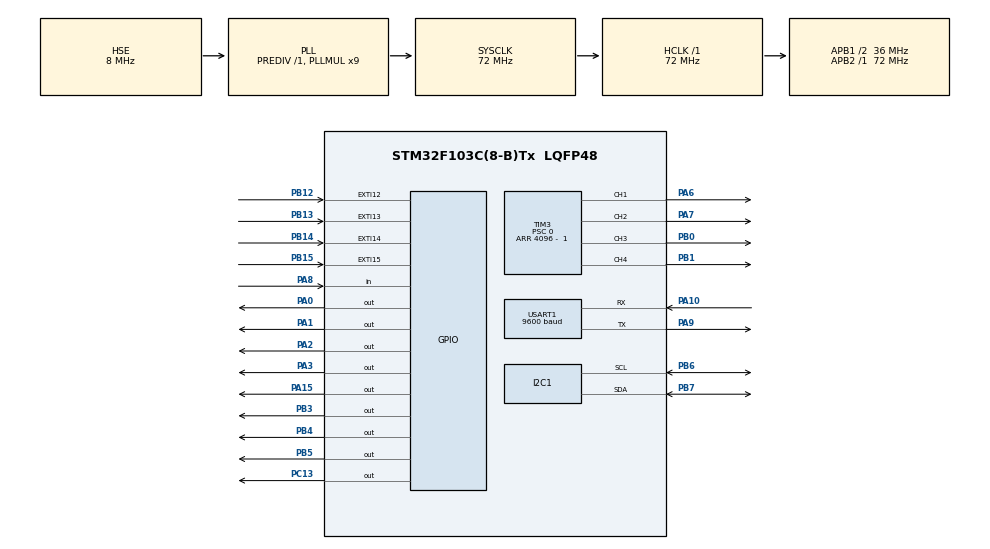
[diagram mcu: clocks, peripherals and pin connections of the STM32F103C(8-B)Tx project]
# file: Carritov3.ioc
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Mcu.Family=STM32F1
Mcu.Name=STM32F103C(8-B)Tx
Mcu.Package=LQFP48
NVIC.EXTI15_10_IRQn=true\:0\:0\:true\:true\:true\:1\:true\:true\:true
NVIC.PriorityGroup=NVIC_PRIORITYGROUP_4
NVIC.TIM2_IRQn=true\:0\:0\:false\:true\:true\:3\:true\:true\:true
NVIC.TIM3_IRQn=true\:0\:0\:false\:true\:true\:4\:true\:true\:true
NVIC.TIM4_IRQn=true\:0\:0\:false\:true\:true\:2\:true\:true\:true
PA0-WKUP.Signal=GPIO_Output
PA1.Signal=GPIO_Output
PA10.Mode=Asynchronous
PA10.Signal=USART1_RX
PA13.Mode=Serial_Wire
PA13.Signal=SYS_JTMS-SWDIO
PA14.Mode=Serial_Wire
PA14.Signal=SYS_JTCK-SWCLK
PA15.Signal=GPIO_Output
PA2.Signal=GPIO_Output
PA3.Signal=GPIO_Output
PA6.Signal=S_TIM3_CH1
PA7.Signal=S_TIM3_CH2
PA8.GPIO_PuPd=GPIO_PULLDOWN
PA8.Signal=GPIO_Input
PA9.Mode=Asynchronous
PA9.Signal=USART1_TX
PB0.Signal=S_TIM3_CH3
PB1.Signal=S_TIM3_CH4
PB12.GPIO_ModeDefaultEXTI=GPIO_MODE_IT_RISING
PB12.GPIO_PuPd=GPIO_PULLDOWN
PB12.Signal=GPXTI12
PB13.GPIO_ModeDefaultEXTI=GPIO_MODE_IT_RISING
PB13.GPIO_PuPd=GPIO_PULLDOWN
PB13.Signal=GPXTI13
PB14.GPIO_ModeDefaultEXTI=GPIO_MODE_IT_RISING
PB14.GPIO_PuPd=GPIO_PULLDOWN
PB14.Signal=GPXTI14
PB15.GPIO_ModeDefaultEXTI=GPIO_MODE_IT_RISING
PB15.GPIO_PuPd=GPIO_PULLDOWN
PB15.Signal=GPXTI15
PB3.Signal=GPIO_Output
PB4.Signal=GPIO_Output
PB5.Signal=GPIO_Output
PB6.Mode=I2C
PB6.Signal=I2C1_SCL
PB7.Mode=I2C
PB7.Signal=I2C1_SDA
PC13-TAMPER-RTC.Signal=GPIO_Output
PC14-OSC32_IN.Mode=LSE-External-Oscillator
PC14-OSC32_IN.Signal=RCC_OSC32_IN
PC15-OSC32_OUT.Mode=LSE-External-Oscillator
PC15-OSC32_OUT.Signal=RCC_OSC32_OUT
PD0-OSC_IN.Mode=HSE-External-Oscillator
PD0-OSC_IN.Signal=RCC_OSC_IN
PD1-OSC_OUT.Mode=HSE-External-Oscillator
PD1-OSC_OUT.Signal=RCC_OSC_OUT
ProjectManager.HeapSize=0x200
ProjectManager.StackSize=0x400
ProjectManager.TargetToolchain=STM32CubeIDE
RCC.AHBFreq_Value=72000000
RCC.APB1CLKDivider=RCC_HCLK_DIV2
RCC.APB1Freq_Value=36000000
RCC.APB1TimFreq_Value=72000000
RCC.APB2Freq_Value=72000000
RCC.APB2TimFreq_Value=72000000
RCC.HCLKFreq_Value=72000000
RCC.PLLMUL=RCC_PLL_MUL9
RCC.PLLSourceVirtual=RCC_PLLSOURCE_HSE
RCC.SYSCLKFreq_VALUE=72000000
RCC.SYSCLKSource=RCC_SYSCLKSOURCE_PLLCLK
RCC.USBFreq_Value=72000000
SH.S_TIM3_CH1.0=TIM3_CH1,PWM Generation1 CH1
SH.S_TIM3_CH2.0=TIM3_CH2,PWM Generation2 CH2
SH.S_TIM3_CH3.0=TIM3_CH3,PWM Generation3 CH3
SH.S_TIM3_CH4.0=TIM3_CH4,PWM Generation4 CH4
TIM2.Period=2500 - 1
TIM2.Prescaler=7200 - 1
TIM3.Channel-PWM\ Generation1\ CH1=TIM_CHANNEL_1
TIM3.Channel-PWM\ Generation2\ CH2=TIM_CHANNEL_2
TIM3.Channel-PWM\ Generation3\ CH3=TIM_CHANNEL_3
TIM3.Channel-PWM\ Generation4\ CH4=TIM_CHANNEL_4
TIM3.Period=4096 -  1
TIM3.Prescaler=0
TIM4.Period=100-1
TIM4.Prescaler=7200 - 1
USART1.BaudRate=9600
USART1.VirtualMode=VM_ASYNC
VP_TIM1_VS_ClockSourceINT.Mode=Internal
VP_TIM2_VS_ClockSourceINT.Mode=Internal
VP_TIM3_VS_ClockSourceINT.Mode=Internal
VP_TIM4_VS_ClockSourceINT.Mode=Internal
board=custom

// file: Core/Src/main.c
/* USER CODE BEGIN Header */
/**
  ******************************************************************************
  * @file           : main.c
  * @brief          : Main program body
  ******************************************************************************
  * @attention
  *
  * Copyright (c) 2023 STMicroelectronics.
  * All rights reserved.
  *
  * This software is licensed under terms that can be found in the LICENSE file
  * in the root directory of this software component.
  * If no LICENSE file comes with this software, it is provided AS-IS.
  *
  ******************************************************************************
  */
/* USER CODE END Header */
#include "main.h"

/* USER CODE BEGIN Includes */
#include "stdio.h"
#include "Directions.h"
#include "PIDpwm.h"
#include "math.h"
/* USER CODE END Includes */

I2C_HandleTypeDef hi2c1;

TIM_HandleTypeDef htim1;
TIM_HandleTypeDef htim2;
TIM_HandleTypeDef htim3;
TIM_HandleTypeDef htim4;

UART_HandleTypeDef huart1;

/* USER CODE BEGIN PV */

/* IMU Adresses */
uint8_t IMU_ADDRESS = 0b11010000; //0xD0
uint8_t MAG_ADDRESS = 0x1A;

/* Variables de IMU6050 Acelerometro */
uint8_t accel_raw_data[6];

float accel_x;
float accel_y;
float accel_z;

/* Variables de IMU6050 Giroscopio */

uint8_t gyro_raw_data[6];

float gyro_x;
float gyro_y;
float gyro_z;

float GyroMean[5] = {};
float gyro_mean;

float GyroValuesx = 0;
float GyroValuesy = 0;
float GyroValuesz = 0;

float Gyro_X_calibration = 0;
float Gyro_Y_calibration = 0;
float Gyro_Z_calibration = 0;

/*Angulos*/
float yawangle = 0;
float yawangle_new;
float prev_yaw = 0;
float yaw_reference = -90;
float filteredYaw;
float YawOffsetValue;
uint8_t state = 0;
float pidanlge_to_use;

volatile uint8_t pulses_rf, pulses_lf, pulses_rb, pulses_lb;

float pulsesperturn = 20.0;

float rpm_rf, rpm_lf, rpm_rb, rpm_lb;

float current_tick_rf, current_tick_lf, current_tick_rb, current_tick_lb;

float pid_output_lf, pid_output_rf, pid_output_lb, pid_output_rb;
float Pid_angle_pwm_left, Pid_angle_pwm_right;

float pwm_rf,pwm_lf, pwm_rb, pwm_lb;

float distance_rf,distance_lf,distance_rb,distance_lb, distance_average;

PIDpwm_Controller pidMotor_rf,pidMotor_lf,pidMotor_rb,pidMotor_lb, pidAngle;

float samplingTime = 250.0;

float setpoint = 3.4;

/*Array For Commands*/
char Commands[3];

/*Transmission array*/
char rpmdata[200] = {0};

/* Magnetometer variables*/
uint8_t array[2]={0x01, 0x1D};
uint8_t array2[6];
int16_t MagX,MagY,MagZ;
float YawMag, angulo2;
float x_center =  2624.1;/* Valor de x_center de MATLAB */;
float y_center = 2561.8/* Valor de y_center de MATLAB */;
float z_center = 210.8500/* Valor de z_center de MATLAB */;
float radio_promedio = 153.39167/* Valor del radio promedio calculado en MATLAB */;
float x_norm, y_norm, z_norm;
float distancia;

// Variables para almacenar los máximos y mínimos de la calibración
char datos[20];

uint8_t count = 0;
uint32_t time_counter = 1;
uint8_t flag;

/* USER CODE END PV */

void SystemClock_Config(void);
static void MX_GPIO_Init(void);
static void MX_I2C1_Init(void);
static void MX_TIM3_Init(void);
static void MX_USART1_UART_Init(void);
static void MX_TIM4_Init(void);
static void MX_TIM2_Init(void);
static void MX_TIM1_Init(void);
static void MX_NVIC_Init(void);

/* USER CODE BEGIN 0 */
void MPU_init(void){
	/*IMU 60050 configuration*/
	uint8_t check, data;

	/*WHO_AM_I register, returns 0x58 if connected*/
	HAL_I2C_Mem_Read(&hi2c1, IMU_ADDRESS, 0x75, 1, &check, 1, 100);

	if(check == 104){
		/*PWR_MGMT_1 register. Write 0 for normal use*/
		data = 0;
		HAL_I2C_Mem_Write(&hi2c1, IMU_ADDRESS, 0x6B, 1, &data, 1, 100);

		/*SMPRT_DIV register*/
		data = 0x07;
		HAL_I2C_Mem_Write(&hi2c1, IMU_ADDRESS, 0x19, 1, &data, 1, 100);

		/*Acceleration Register configuration*/
		HAL_I2C_Mem_Read(&hi2c1, IMU_ADDRESS, 0x1C, 1, &data, 1, 100);

		uint8_t precission_selector = 0;
		/*
		 * 0 for +- 2g
		 * 1 for +- 4g
		 * 2 for +- 8g
		 * 3 for +- 16g
		 */
		data = (data & ~(0b11<<3));
		data = (data | (precission_selector << 3));

		HAL_I2C_Mem_Write(&hi2c1, IMU_ADDRESS, 0x1C, 1, &data, 1, 100);

		/*Gyro Register configuration*/
		HAL_I2C_Mem_Read(&hi2c1, IMU_ADDRESS, 0x1B, 1, &data, 1, 100);

		uint8_t precission_selector_gyro = 0;
		/*
		 * 0 for +- 250 deg/s
		 * 1 for +- 500 deg/s
		 * 2 for +- 1000 deg/s
		 * 3 for +- 2000 deg/s
		 */
		data = (data & ~(0b11<<3));
		data = (data | (precission_selector_gyro << 3));

		HAL_I2C_Mem_Write(&hi2c1, IMU_ADDRESS, 0x1B, 1,&data, 1, 100);

	}

}

void MPU_Read_accel(void){

	/*
	 * 0x3B ACCEL_XOUT_H
	 * 0x3C ACCEL_XOUT_L
	 * 0x3D ACCEL_YOUT_H
	 * 0x3E ACCEL_YOUT_L
	 * 0x3F ACCEL_ZOUT_H
	 * 0x40 ACCEL_ZOUT_L
	 * */

	/*Read registers in order*/
	HAL_I2C_Mem_Read(&hi2c1, IMU_ADDRESS, 0x3B, 1, accel_raw_data, 6, 1000);

	/*Precission value in g's
	 * change if value in MPU_init changes
	 * 2
	 * 4
	 * 8
	 * 16
	 * */
	 float g_precission = 2;

	 accel_x = (float)(((int16_t)(accel_raw_data[0] << 8 | accel_raw_data[1])) * g_precission/32768);
	 accel_y = (float)(((int16_t)(accel_raw_data[2] << 8 | accel_raw_data[3])) * g_precission/32768);
	 accel_z = (float)(((int16_t)(accel_raw_data[4] << 8 | accel_raw_data[5])) * g_precission/32768);

	 /*Conversion from g's to m/s^2*/
	 accel_x = accel_x * 9.81;
	 accel_y = accel_y * 9.81;
	 accel_z = accel_z * 9.81;
	}

void MPU_Read_gyro(void){

	/*
	 * 0x43 ACCEL_XOUT_H
	 * 0x44 ACCEL_XOUT_L
	 * 0x45 ACCEL_YOUT_H
	 * 0x46 ACCEL_YOUT_L
	 * 0x47 ACCEL_ZOUT_H
	 * 0x48 ACCEL_ZOUT_L
	 * */

	if(count < 5){

		/*Read registers in order*/
		HAL_I2C_Mem_Read(&hi2c1, IMU_ADDRESS, 0x43, 1, gyro_raw_data, 6, 1000);

		/*Precission value in degs/s
		 * change if value in MPU_init changes
		 * 250
		 * 500
		 * 1000
		 * 2000
		 * */
		float gyro_Precission = 250;

		 gyro_x = (float)(((int16_t)(gyro_raw_data[0] << 8 | gyro_raw_data[1])) * gyro_Precission/32768);
		 gyro_y = (float)(((int16_t)(gyro_raw_data[2] << 8 | gyro_raw_data[3])) * gyro_Precission/32768);
		 gyro_z = (float)(((int16_t)(gyro_raw_data[4] << 8 | gyro_raw_data[5])) * gyro_Precission/32768);

		 /*Gyro values adjusted with calibration values*/
		 gyro_x += Gyro_X_calibration;
		 gyro_y += Gyro_Y_calibration;
		 gyro_z += Gyro_Z_calibration;

		 GyroMean[count] = gyro_z;
		 count++;
	}

	if(count == 5){
		/*Moving average of 5*/
		gyro_mean = (GyroMean[0]+GyroMean[1]+GyroMean[2]+GyroMean[3]+GyroMean[4])/5;
		count = 0;
	}
}

void Gyro_calibration(void){

	uint16_t counter = 0;
	uint32_t StartTime_cal = HAL_GetTick();
	uint32_t ElapsedTime_cal = 0;

	/*Calibrate value for 9 seconds*/
	while(ElapsedTime_cal < 9000){

		MPU_Read_gyro();
		GyroValuesx += gyro_x;
		GyroValuesy += gyro_y;
		GyroValuesz += gyro_z;

		counter++;

		uint32_t CurrentTime_cal = HAL_GetTick();
		ElapsedTime_cal = CurrentTime_cal - StartTime_cal;
	}

	/*Calibration values, average of gyros values*/
	Gyro_X_calibration = -1 * GyroValuesx/counter;
	Gyro_Y_calibration = -1 * GyroValuesy/counter;
	Gyro_Z_calibration = -1 * GyroValuesz/counter;

}

void MPU_GetYaw(uint8_t elapsed){
	uint8_t alfa = 0.98;

	yawangle_new = prev_yaw + gyro_z * elapsed/1000;

	yawangle = (1-alfa) * prev_yaw + (alfa) * yawangle_new;

	prev_yaw = yawangle_new;

	if(yawangle <= -360){
		yawangle = 0;
	}
	if(yawangle > 360){
		yawangle = 0;
	}

	//filteredYaw = alfa*(filteredYaw + gyro_z * elapsed/1000) + (1-alfa)*YawMag;
}

void Mag_init(void){

	 HAL_I2C_Mem_Write(&hi2c1, MAG_ADDRESS, 0x08,1, &array[0], 1, 100);
	 HAL_I2C_Mem_Write(&hi2c1, MAG_ADDRESS, 0x09,1, &array[1], 1, 100);
}

void Mag_read(void){
	HAL_I2C_Mem_Read(&hi2c1, MAG_ADDRESS, 0x06,1, array2, 1, 100);
	  if(array2[0]&0x01){
		  HAL_I2C_Mem_Read(&hi2c1, MAG_ADDRESS, 0x00,1, array2, 6, 100);
		  MagX = array2[1] << 8 | array2[0];
		  MagY = array2[3] << 8 | array2[2];
		  MagY = array2[5] << 8 | array2[4];
	  }
	  float x_cent = (float)MagX - x_center;
	  float y_cent = (float)MagY - y_center;
	  float z_cent = (float)MagZ - z_center;

	  distancia = sqrt(x_cent * x_cent + y_cent * y_cent + z_cent * z_cent);
	  if (distancia != 0) { // Evitar división por cero
		  x_norm = (x_cent / distancia); //* radio_promedio;
		  y_norm = (y_cent / distancia); //* radio_promedio;
		  z_norm = (z_cent / distancia); //* radio_promedio;
	  }
	  distancia = sqrt(x_norm * x_norm + y_norm * y_norm + z_norm * z_norm);
	  YawMag = atan2(y_norm,x_norm)*180/M_PI;
}
/* USER CODE END 0 */

int main(void)
{

  /* MCU Configuration--------------------------------------------------------*/

  /* Reset of all peripherals, Initializes the Flash interface and the Systick. */
  HAL_Init();

  /* Configure the system clock */
  SystemClock_Config();

  /* Initialize all configured peripherals */
  MX_GPIO_Init();
  MX_I2C1_Init();
  MX_TIM3_Init();
  MX_USART1_UART_Init();
  MX_TIM4_Init();
  MX_TIM2_Init();
  MX_TIM1_Init();

  /* Initialize interrupts */
  MX_NVIC_Init();
  /* USER CODE BEGIN 2 */

  /*Check if MPU6050 is connected*/
  HAL_StatusTypeDef ret = HAL_I2C_IsDeviceReady(&hi2c1, IMU_ADDRESS, 10, 100);
  /*Check if QMC5883 is connected*/
  HAL_StatusTypeDef ready = HAL_I2C_IsDeviceReady(&hi2c1, MAG_ADDRESS, 10, 1000);

  if(ret == HAL_OK /*&& ready == HAL_OK*/){
	  HAL_GPIO_WritePin(GPIOC, GPIO_PIN_13, 0);
	  char transmission_buffer[17];
	  uint8_t transmission_size = sprintf(transmission_buffer,"Device connected \n");

	  HAL_UART_Transmit(&huart1,&transmission_buffer,transmission_size, 500);
  }
  else{
	  HAL_GPIO_WritePin(GPIOC, GPIO_PIN_13, 1);
  }

  Mag_init();
  MPU_init();

  Gyro_calibration();

  HAL_TIM_Base_Start_IT(&htim4);
  HAL_TIM_Base_Start_IT(&htim2);
  HAL_TIM_PWM_Start(&htim3, TIM_CHANNEL_1);
  HAL_TIM_PWM_Start(&htim3, TIM_CHANNEL_2);
  HAL_TIM_PWM_Start(&htim3, TIM_CHANNEL_3);
  HAL_TIM_PWM_Start(&htim3, TIM_CHANNEL_4);

  uint32_t start_time, elapsed_time, current_time;

/*Initialize PID functions with its obtained Kp, Ti, Td and reference values*/
  /*
   PIDpwm_Init(&pidMotor_lf,0.6241f,10.0f,0.025f,-270.0f, 270.0f);
   PIDpwm_Init(&pidMotor_rf,2.915f,10.00f,0.025f,-270.0f, 270.0f);
   PIDpwm_Init(&pidMotor_lb,1.369f,0.2538f,1.846f,-270.0f, 270.0f);
   PIDpwm_Init(&pidMotor_rb,0.0f,0.1283f,0.0f,-270.0f,270.0f);
  /*
/*
  PIDpwm_Init(&pidMotor_rf, 1.7513f, 285.5875f, 0.14992f, -300.0f, 300.0f);
  PIDpwm_Init(&pidMotor_lf, 1.9756f, 361.081f, 0.15439f, -300.0f, 300.0f);
  PIDpwm_Init(&pidMotor_rb, 2.4901f, 324.3345, 0.16109f, -300.0f, 300.0f);
  PIDpwm_Init(&pidMotor_lb, 2.131f, 380.4173f, 0.14994f, -300.0f, 300.0f);
*/

  pidMotor_rf.setpoint = 3.4;
  pidMotor_lf.setpoint = setpoint;
  pidMotor_rb.setpoint = setpoint;
  pidMotor_lb.setpoint = setpoint;

  pidAngle.setpoint = 0;

/*
  PIDpwm_Init(&pidMotor_rf, 0.90f, 0.0f, 0.0f, -300.0f, 300.0f);
  PIDpwm_Init(&pidMotor_lf, 1.0f, 0.0f, 0.0f, -300.0f, 300.0f);
  PIDpwm_Init(&pidMotor_rb, 0.8f, 0.0f, 0.0f, -300.0f, 300.0f);
  PIDpwm_Init(&pidMotor_lb, 0.9f, 0.0f, 0.0f, -300.0f, 300.0f);
  */
  PIDpwm_Init(&pidMotor_rf, 140.0f, 400.0f, 0.0f, -4.0f, 4.0f,3.4);
  PIDpwm_Init(&pidMotor_lf, 140.0f, 400.0f, 0.0f, -4.0f, 4.0f,3.4);
  PIDpwm_Init(&pidMotor_rb, 140.0f, 400.0f, 0.0f, -4.0f, 4.0f,3.4);
  PIDpwm_Init(&pidMotor_lb, 140.0f, 400.0f, 0.0f, -4.0f, 4.0f,3.4);
  /*Set point definition*/

  /* USER CODE END 2 */

  /* Infinite loop */
  while (1)
  {

    /* USER CODE BEGIN 3 */

	  HAL_UART_Receive(&huart1, &Commands, 3, 100);

	  /*State Machine for going forward and turning right.*/
	  switch(state){

		  case 1:
			  //Forward path
			  //Forward();

			  pwm_lf = 4095;
			  pwm_lb = 4095;
			  pwm_rb = 4095;
			  pwm_rf = 4095;

			  /*Set PWM value to the PIDs PWM output value*/
/*
			  __HAL_TIM_SET_COMPARE(&htim3, TIM_CHANNEL_1, pwm_lf);//pid_output_rf);
			  __HAL_TIM_SET_COMPARE(&htim3, TIM_CHANNEL_2, pwm_rf);//pid_output_lf);
			  __HAL_TIM_SET_COMPARE(&htim3, TIM_CHANNEL_3, pwm_lb);//pid_output_lb);
			  __HAL_TIM_SET_COMPARE(&htim3, TIM_CHANNEL_4, pwm_rb);//pid_output_rb);
*/

			  __HAL_TIM_SET_COMPARE(&htim3, TIM_CHANNEL_1, pid_output_lf);
			  __HAL_TIM_SET_COMPARE(&htim3, TIM_CHANNEL_2, pid_output_rf);
			  __HAL_TIM_SET_COMPARE(&htim3, TIM_CHANNEL_3, pid_output_lb);
			  __HAL_TIM_SET_COMPARE(&htim3, TIM_CHANNEL_4, pid_output_rb);
/*
			  if(yawangle > yaw_reference_straightLine){
				  RightTurn();

				  __HAL_TIM_SET_COMPARE(&htim3, TIM_CHANNEL_1, pid_output_lf*(4095.0/300));
				  __HAL_TIM_SET_COMPARE(&htim3, TIM_CHANNEL_2, pid_output_rf*(4095.0/300));
				  __HAL_TIM_SET_COMPARE(&htim3, TIM_CHANNEL_3, pid_output_lb*(4095.0/300));
				  __HAL_TIM_SET_COMPARE(&htim3, TIM_CHANNEL_4, pid_output_rb*(4095.0/300));
			  }
			  if(yawangle > yaw_reference_straightLine){
				  LeftTurn();
			  }
			  */
			  break;

		  case 2:
			  //Right turn

			  pwm_lb = 3500;
			  pwm_rb = 3500;
			  pwm_rf = 3500;
			  pwm_lf = 3500;

			  /*Set PWM value to the PIDs PWM output value*/
			  /*
			  __HAL_TIM_SET_COMPARE(&htim3, TIM_CHANNEL_1, pwm_lf);
			  __HAL_TIM_SET_COMPARE(&htim3, TIM_CHANNEL_2, pwm_rf);
			  __HAL_TIM_SET_COMPARE(&htim3, TIM_CHANNEL_3, pwm_lb);
			  __HAL_TIM_SET_COMPARE(&htim3, TIM_CHANNEL_4, pwm_rb);
			  */

			  __HAL_TIM_SET_COMPARE(&htim3, TIM_CHANNEL_1, pid_output_lf);
			  __HAL_TIM_SET_COMPARE(&htim3, TIM_CHANNEL_2, pid_output_rf);
			  __HAL_TIM_SET_COMPARE(&htim3, TIM_CHANNEL_3, pid_output_lb);
			  __HAL_TIM_SET_COMPARE(&htim3, TIM_CHANNEL_4, pid_output_rb);

			  break;

		  default:
			  Stop();

			  break;
	  }

	  current_time = HAL_GetTick();
	  elapsed_time = current_time - start_time;

	  /*State machines logic */
	  if(state == 0){
		  flag = 1;
		  /*Start Command*/
		  if(Commands[0] == 'S'){
			  start_time = HAL_GetTick();
			  elapsed_time = 0;

			  PIDangle_Init(&pidAngle,30.0f,0.0f,-45.0f,45.0f);

			  pidMotor_rf.setpoint = setpoint;
			  pidMotor_lf.setpoint = setpoint;
			  pidMotor_rb.setpoint = setpoint;
			  pidMotor_lb.setpoint = setpoint;

			  flag = 0;

			  state++;
		  }
	  }
	  else if(state == 1){
		  flag = 0;
		  /*Drive Forward for 5 seconds*/ // Change THIS!!
		  if(distance_average > 950){

			  pidAngle.setpoint = yaw_reference;

			  setpoint = 3;

			  pidMotor_rf.setpoint = setpoint;
			  pidMotor_lf.setpoint = setpoint;
			  pidMotor_rb.setpoint = setpoint;
			  pidMotor_lb.setpoint = setpoint;

			  start_time = HAL_GetTick();
			  elapsed_time = 0;
			  state++;
		  }
	  }
	  else if(state == 2){

		  /*Turn right until yaw reference value*/
		  if(yawangle >= yaw_reference * 1.05 && yawangle <= yaw_reference * 0.95){
			  yaw_reference += -90 + (-yawangle + yaw_reference);
			  distance_average = 0;
			  flag = 1;

			//yaw_reference += -90;
			Stop();
			/*Recalibrate at every stop*/
			 YawOffsetValue += yawangle;
			Gyro_calibration();

			 setpoint = 3.4;

			  pidMotor_rf.setpoint = setpoint;
			  pidMotor_lf.setpoint = setpoint;
			  pidMotor_rb.setpoint = setpoint;
			  pidMotor_lb.setpoint = setpoint;

			  pidAngle.setpoint = yawangle;

				start_time = HAL_GetTick();
				elapsed_time = 0;
			  	state = 1;
		  }
	  }

	  /*Stop Command*/
	  if(Commands[0] == 'E'){
		  Stop();

		  state = 0;

		  pwm_lb = 0;
		  pwm_rb = 0;
		  pwm_rf = 0;
		  pwm_lf = 0;

		  __HAL_TIM_SET_COMPARE(&htim3, TIM_CHANNEL_1, 0);
		  __HAL_TIM_SET_COMPARE(&htim3, TIM_CHANNEL_2, 0);
		  __HAL_TIM_SET_COMPARE(&htim3, TIM_CHANNEL_3, 0);
		  __HAL_TIM_SET_COMPARE(&htim3, TIM_CHANNEL_4, 0);

		  setpoint = 0;

		  pidMotor_rf.setpoint = setpoint;
		  pidMotor_lf.setpoint = setpoint;
		  pidMotor_rb.setpoint = setpoint;
		  pidMotor_lb.setpoint = setpoint;

		  pidAngle.setpoint = 0;

	  }

	  uint8_t num_chars =  sprintf(rpmdata,"%u, %.2f, %.2f,%.2f,%.2f,%.2f,%.2f,%.2f,%.2f,%.2f,%.2f\n",state,pidMotor_rf.setpoint, pid_output_lf, pid_output_rf, pid_output_lb, pid_output_rb, rpm_lf, rpm_rf, rpm_lb, rpm_rb, yawangle);
	  //uint8_t num_chars =  sprintf(rpmdata,"%.2f,%.2f,%.2f,%.2f\n",rpm_lf, rpm_rf, rpm_lb, rpm_rb);

	  //uint8_t num_chars =  sprintf(rpmdata,"%.2f,%.2f,%.2f,%.2f,%.2f,%.2f,%.2f,%.2f,%.2f\n", pwm_lf, pwm_rf, pwm_lb, pwm_rb, rpm_lf, rpm_rf, rpm_lb, rpm_rb, yawangle);

	  HAL_UART_Transmit(&huart1, &rpmdata, num_chars, 100);

	 // uint16_t Datas = sprintf(Dats,"%u,%u\n",Intervalo, rpm_lb);

	  //HAL_UART_Transmit(&huart1, &Dats, Datas, 10);

  }

  /* USER CODE END 3 */
}

void SystemClock_Config(void)
{
  RCC_OscInitTypeDef RCC_OscInitStruct = {0};
  RCC_ClkInitTypeDef RCC_ClkInitStruct = {0};

  /** Initializes the RCC Oscillators according to the specified parameters
  * in the RCC_OscInitTypeDef structure.
  */
  RCC_OscInitStruct.OscillatorType = RCC_OSCILLATORTYPE_HSE;
  RCC_OscInitStruct.HSEState = RCC_HSE_ON;
  RCC_OscInitStruct.HSEPredivValue = RCC_HSE_PREDIV_DIV1;
  RCC_OscInitStruct.HSIState = RCC_HSI_ON;
  RCC_OscInitStruct.PLL.PLLState = RCC_PLL_ON;
  RCC_OscInitStruct.PLL.PLLSource = RCC_PLLSOURCE_HSE;
  RCC_OscInitStruct.PLL.PLLMUL = RCC_PLL_MUL9;
  if (HAL_RCC_OscConfig(&RCC_OscInitStruct) != HAL_OK)
  {
    Error_Handler();
  }

  /** Initializes the CPU, AHB and APB buses clocks
  */
  RCC_ClkInitStruct.ClockType = RCC_CLOCKTYPE_HCLK|RCC_CLOCKTYPE_SYSCLK
                              |RCC_CLOCKTYPE_PCLK1|RCC_CLOCKTYPE_PCLK2;
  RCC_ClkInitStruct.SYSCLKSource = RCC_SYSCLKSOURCE_PLLCLK;
  RCC_ClkInitStruct.AHBCLKDivider = RCC_SYSCLK_DIV1;
  RCC_ClkInitStruct.APB1CLKDivider = RCC_HCLK_DIV2;
  RCC_ClkInitStruct.APB2CLKDivider = RCC_HCLK_DIV1;

  if (HAL_RCC_ClockConfig(&RCC_ClkInitStruct, FLASH_LATENCY_2) != HAL_OK)
  {
    Error_Handler();
  }
}

/**
  * @brief NVIC Configuration.
  * @retval None
  */
static void MX_NVIC_Init(void)
{
  /* EXTI15_10_IRQn interrupt configuration */
  HAL_NVIC_SetPriority(EXTI15_10_IRQn, 0, 0);
  HAL_NVIC_EnableIRQ(EXTI15_10_IRQn);
  /* TIM4_IRQn interrupt configuration */
  HAL_NVIC_SetPriority(TIM4_IRQn, 0, 0);
  HAL_NVIC_EnableIRQ(TIM4_IRQn);
  /* TIM2_IRQn interrupt configuration */
  HAL_NVIC_SetPriority(TIM2_IRQn, 0, 0);
  HAL_NVIC_EnableIRQ(TIM2_IRQn);
  /* TIM3_IRQn interrupt configuration */
  HAL_NVIC_SetPriority(TIM3_IRQn, 0, 0);
  HAL_NVIC_EnableIRQ(TIM3_IRQn);
}

static void MX_I2C1_Init(void)
{

  hi2c1.Instance = I2C1;
  hi2c1.Init.ClockSpeed = 100000;
  hi2c1.Init.DutyCycle = I2C_DUTYCYCLE_2;
  hi2c1.Init.OwnAddress1 = 0;
  hi2c1.Init.AddressingMode = I2C_ADDRESSINGMODE_7BIT;
  hi2c1.Init.DualAddressMode = I2C_DUALADDRESS_DISABLE;
  hi2c1.Init.OwnAddress2 = 0;
  hi2c1.Init.GeneralCallMode = I2C_GENERALCALL_DISABLE;
  hi2c1.Init.NoStretchMode = I2C_NOSTRETCH_DISABLE;
  if (HAL_I2C_Init(&hi2c1) != HAL_OK)
  {
    Error_Handler();
  }

}

static void MX_TIM1_Init(void)
{

  TIM_ClockConfigTypeDef sClockSourceConfig = {0};
  TIM_MasterConfigTypeDef sMasterConfig = {0};

  htim1.Instance = TIM1;
  htim1.Init.Prescaler = 0;
  htim1.Init.CounterMode = TIM_COUNTERMODE_UP;
  htim1.Init.Period = 65535;
  htim1.Init.ClockDivision = TIM_CLOCKDIVISION_DIV1;
  htim1.Init.RepetitionCounter = 0;
  htim1.Init.AutoReloadPreload = TIM_AUTORELOAD_PRELOAD_DISABLE;
  if (HAL_TIM_Base_Init(&htim1) != HAL_OK)
  {
    Error_Handler();
  }
  sClockSourceConfig.ClockSource = TIM_CLOCKSOURCE_INTERNAL;
  if (HAL_TIM_ConfigClockSource(&htim1, &sClockSourceConfig) != HAL_OK)
  {
    Error_Handler();
  }
  sMasterConfig.MasterOutputTrigger = TIM_TRGO_RESET;
  sMasterConfig.MasterSlaveMode = TIM_MASTERSLAVEMODE_DISABLE;
  if (HAL_TIMEx_MasterConfigSynchronization(&htim1, &sMasterConfig) != HAL_OK)
  {
    Error_Handler();
  }

}

static void MX_TIM2_Init(void)
{

  TIM_ClockConfigTypeDef sClockSourceConfig = {0};
  TIM_MasterConfigTypeDef sMasterConfig = {0};

  htim2.Instance = TIM2;
  htim2.Init.Prescaler = 7200 - 1;
  htim2.Init.CounterMode = TIM_COUNTERMODE_UP;
  htim2.Init.Period = 2500 - 1;
  htim2.Init.ClockDivision = TIM_CLOCKDIVISION_DIV1;
  htim2.Init.AutoReloadPreload = TIM_AUTORELOAD_PRELOAD_DISABLE;
  if (HAL_TIM_Base_Init(&htim2) != HAL_OK)
  {
    Error_Handler();
  }
  sClockSourceConfig.ClockSource = TIM_CLOCKSOURCE_INTERNAL;
  if (HAL_TIM_ConfigClockSource(&htim2, &sClockSourceConfig) != HAL_OK)
  {
    Error_Handler();
  }
  sMasterConfig.MasterOutputTrigger = TIM_TRGO_RESET;
  sMasterConfig.MasterSlaveMode = TIM_MASTERSLAVEMODE_DISABLE;
  if (HAL_TIMEx_MasterConfigSynchronization(&htim2, &sMasterConfig) != HAL_OK)
  {
    Error_Handler();
  }

}

static void MX_TIM3_Init(void)
{

  TIM_ClockConfigTypeDef sClockSourceConfig = {0};
  TIM_MasterConfigTypeDef sMasterConfig = {0};
  TIM_OC_InitTypeDef sConfigOC = {0};

  htim3.Instance = TIM3;
  htim3.Init.Prescaler = 0;
  htim3.Init.CounterMode = TIM_COUNTERMODE_UP;
  htim3.Init.Period = 4096 - 1;
  htim3.Init.ClockDivision = TIM_CLOCKDIVISION_DIV1;
  htim3.Init.AutoReloadPreload = TIM_AUTORELOAD_PRELOAD_DISABLE;
  if (HAL_TIM_Base_Init(&htim3) != HAL_OK)
  {
    Error_Handler();
  }
  sClockSourceConfig.ClockSource = TIM_CLOCKSOURCE_INTERNAL;
  if (HAL_TIM_ConfigClockSource(&htim3, &sClockSourceConfig) != HAL_OK)
  {
    Error_Handler();
  }
  if (HAL_TIM_PWM_Init(&htim3) != HAL_OK)
  {
    Error_Handler();
  }
  sMasterConfig.MasterOutputTrigger = TIM_TRGO_RESET;
  sMasterConfig.MasterSlaveMode = TIM_MASTERSLAVEMODE_DISABLE;
  if (HAL_TIMEx_MasterConfigSynchronization(&htim3, &sMasterConfig) != HAL_OK)
  {
    Error_Handler();
  }
  sConfigOC.OCMode = TIM_OCMODE_PWM1;
  sConfigOC.Pulse = 0;
  sConfigOC.OCPolarity = TIM_OCPOLARITY_HIGH;
  sConfigOC.OCFastMode = TIM_OCFAST_DISABLE;
  if (HAL_TIM_PWM_ConfigChannel(&htim3, &sConfigOC, TIM_CHANNEL_1) != HAL_OK)
  {
    Error_Handler();
  }
  if (HAL_TIM_PWM_ConfigChannel(&htim3, &sConfigOC, TIM_CHANNEL_2) != HAL_OK)
  {
    Error_Handler();
  }
  if (HAL_TIM_PWM_ConfigChannel(&htim3, &sConfigOC, TIM_CHANNEL_3) != HAL_OK)
  {
    Error_Handler();
  }
  if (HAL_TIM_PWM_ConfigChannel(&htim3, &sConfigOC, TIM_CHANNEL_4) != HAL_OK)
  {
    Error_Handler();
  }
  HAL_TIM_MspPostInit(&htim3);

}

static void MX_TIM4_Init(void)
{

  TIM_ClockConfigTypeDef sClockSourceConfig = {0};
  TIM_MasterConfigTypeDef sMasterConfig = {0};

  htim4.Instance = TIM4;
  htim4.Init.Prescaler = 7200 - 1;
  htim4.Init.CounterMode = TIM_COUNTERMODE_UP;
  htim4.Init.Period = 100-1;
  htim4.Init.ClockDivision = TIM_CLOCKDIVISION_DIV1;
  htim4.Init.AutoReloadPreload = TIM_AUTORELOAD_PRELOAD_DISABLE;
  if (HAL_TIM_Base_Init(&htim4) != HAL_OK)
  {
    Error_Handler();
  }
  sClockSourceConfig.ClockSource = TIM_CLOCKSOURCE_INTERNAL;
  if (HAL_TIM_ConfigClockSource(&htim4, &sClockSourceConfig) != HAL_OK)
  {
    Error_Handler();
  }
  sMasterConfig.MasterOutputTrigger = TIM_TRGO_RESET;
  sMasterConfig.MasterSlaveMode = TIM_MASTERSLAVEMODE_DISABLE;
  if (HAL_TIMEx_MasterConfigSynchronization(&htim4, &sMasterConfig) != HAL_OK)
  {
    Error_Handler();
  }

}

static void MX_USART1_UART_Init(void)
{

  huart1.Instance = USART1;
  huart1.Init.BaudRate = 9600;
  huart1.Init.WordLength = UART_WORDLENGTH_8B;
  huart1.Init.StopBits = UART_STOPBITS_1;
  huart1.Init.Parity = UART_PARITY_NONE;
  huart1.Init.Mode = UART_MODE_TX_RX;
  huart1.Init.HwFlowCtl = UART_HWCONTROL_NONE;
  huart1.Init.OverSampling = UART_OVERSAMPLING_16;
  if (HAL_UART_Init(&huart1) != HAL_OK)
  {
    Error_Handler();
  }

}

static void MX_GPIO_Init(void)
{
  GPIO_InitTypeDef GPIO_InitStruct = {0};

  /* GPIO Ports Clock Enable */
  __HAL_RCC_GPIOC_CLK_ENABLE();
  __HAL_RCC_GPIOD_CLK_ENABLE();
  __HAL_RCC_GPIOA_CLK_ENABLE();
  __HAL_RCC_GPIOB_CLK_ENABLE();

  /*Configure GPIO pin Output Level */
  HAL_GPIO_WritePin(GPIOC, GPIO_PIN_13, GPIO_PIN_RESET);

  /*Configure GPIO pin Output Level */
  HAL_GPIO_WritePin(GPIOA, GPIO_PIN_0|GPIO_PIN_1|GPIO_PIN_2|GPIO_PIN_3
                          |GPIO_PIN_15, GPIO_PIN_RESET);

  /*Configure GPIO pin Output Level */
  HAL_GPIO_WritePin(GPIOB, GPIO_PIN_3|GPIO_PIN_4|GPIO_PIN_5, GPIO_PIN_RESET);

  /*Configure GPIO pin : PC13 */
  GPIO_InitStruct.Pin = GPIO_PIN_13;
  GPIO_InitStruct.Mode = GPIO_MODE_OUTPUT_PP;
  GPIO_InitStruct.Pull = GPIO_NOPULL;
  GPIO_InitStruct.Speed = GPIO_SPEED_FREQ_LOW;
  HAL_GPIO_Init(GPIOC, &GPIO_InitStruct);

  /*Configure GPIO pins : PA0 PA1 PA2 PA3
                           PA15 */
  GPIO_InitStruct.Pin = GPIO_PIN_0|GPIO_PIN_1|GPIO_PIN_2|GPIO_PIN_3
                          |GPIO_PIN_15;
  GPIO_InitStruct.Mode = GPIO_MODE_OUTPUT_PP;
  GPIO_InitStruct.Pull = GPIO_NOPULL;
  GPIO_InitStruct.Speed = GPIO_SPEED_FREQ_LOW;
  HAL_GPIO_Init(GPIOA, &GPIO_InitStruct);

  /*Configure GPIO pins : PB12 PB13 PB14 PB15 */
  GPIO_InitStruct.Pin = GPIO_PIN_12|GPIO_PIN_13|GPIO_PIN_14|GPIO_PIN_15;
  GPIO_InitStruct.Mode = GPIO_MODE_IT_RISING;
  GPIO_InitStruct.Pull = GPIO_PULLDOWN;
  HAL_GPIO_Init(GPIOB, &GPIO_InitStruct);

  /*Configure GPIO pin : PA8 */
  GPIO_InitStruct.Pin = GPIO_PIN_8;
  GPIO_InitStruct.Mode = GPIO_MODE_INPUT;
  GPIO_InitStruct.Pull = GPIO_PULLDOWN;
  HAL_GPIO_Init(GPIOA, &GPIO_InitStruct);

  /*Configure GPIO pins : PB3 PB4 PB5 */
  GPIO_InitStruct.Pin = GPIO_PIN_3|GPIO_PIN_4|GPIO_PIN_5;
  GPIO_InitStruct.Mode = GPIO_MODE_OUTPUT_PP;
  GPIO_InitStruct.Pull = GPIO_NOPULL;
  GPIO_InitStruct.Speed = GPIO_SPEED_FREQ_LOW;
  HAL_GPIO_Init(GPIOB, &GPIO_InitStruct);

}

/* USER CODE BEGIN 4 */

void HAL_TIM_PeriodElapsedCallback(TIM_HandleTypeDef *htim){

	if(htim -> Instance  == TIM2){

		if(flag == 0){

			rpm_rf =  (current_tick_rf * 1000 ) / (pulsesperturn * samplingTime);
			rpm_lf =  (current_tick_lf * 1000 ) / (pulsesperturn * samplingTime);
			rpm_rb =  (current_tick_rb * 1000 ) / (pulsesperturn * samplingTime);
			rpm_lb =  (current_tick_lb * 1000 ) / (pulsesperturn * samplingTime);

			distance_rf = current_tick_rf * 20.7345/pulsesperturn;
			distance_lf = current_tick_lf * 20.7345/pulsesperturn;
			distance_rb = current_tick_rb * 20.7345/pulsesperturn;
			distance_lb = current_tick_lb * 20.7345/pulsesperturn;

			distance_average += (distance_rf + distance_lf + distance_rb + distance_lb)/4;

			distance_rf = 0;
			distance_lf = 0;
			distance_rb = 0;
			distance_lb = 0;

			current_tick_rf = 0;
			current_tick_lf = 0;
			current_tick_rb = 0;
			current_tick_lb = 0;

			pid_output_lf = PIDpwm_Compute(&pidMotor_lf, rpm_lf, 1);
			pid_output_rf = PIDpwm_Compute(&pidMotor_rf, rpm_rf, 2);
			pid_output_lb = PIDpwm_Compute(&pidMotor_lb, rpm_lb, 3);
			pid_output_rb = PIDpwm_Compute(&pidMotor_rb, rpm_rb, 4);

			// PID M1 //

		}

	}

	if(htim -> Instance == TIM4){

		if(count == 4){
			/*Integrate  every 50ms*/
			MPU_GetYaw(50);
			Pid_angle_pwm_left = -1* PIDangle_Compute(&pidAngle, yawangle);
			Pid_angle_pwm_right = - Pid_angle_pwm_left;
			pid_output_lf += Pid_angle_pwm_left;
			pid_output_lb += Pid_angle_pwm_left;
			pid_output_rf += Pid_angle_pwm_right;
			pid_output_rb += Pid_angle_pwm_right;
			//count = 0;

		}

		/*Readd gyro value every 10ms*/
		MPU_Read_gyro();
	}

}
void HAL_GPIO_EXTI_Callback(uint16_t GPIO_Pin)
{

/*
 * @pin 15 Right front wheel
 * @pin 14 Left front wheel
 * @pin 13 Right back wheel
 * @pin 12 Left back wheel
 */

  if(GPIO_Pin == GPIO_PIN_15){
	  //Right front wheel
	  pulses_rf++;
	  current_tick_rf++;
  }
  if(GPIO_Pin == GPIO_PIN_14){
	  //Left front wheel
	  pulses_lf++;
	  current_tick_lf++;
  }
  if(GPIO_Pin == GPIO_PIN_13){
	  //Right back wheel
	  pulses_rb++;
	  current_tick_rb++;
  }
  if(GPIO_Pin == GPIO_PIN_12){
	  //Left back wheel
	  pulses_lb++;
	  current_tick_lb++;

  }
}

/* USER CODE END 4 */

void Error_Handler(void)
{
  __disable_irq();
  while (1)
  {
  }
}
